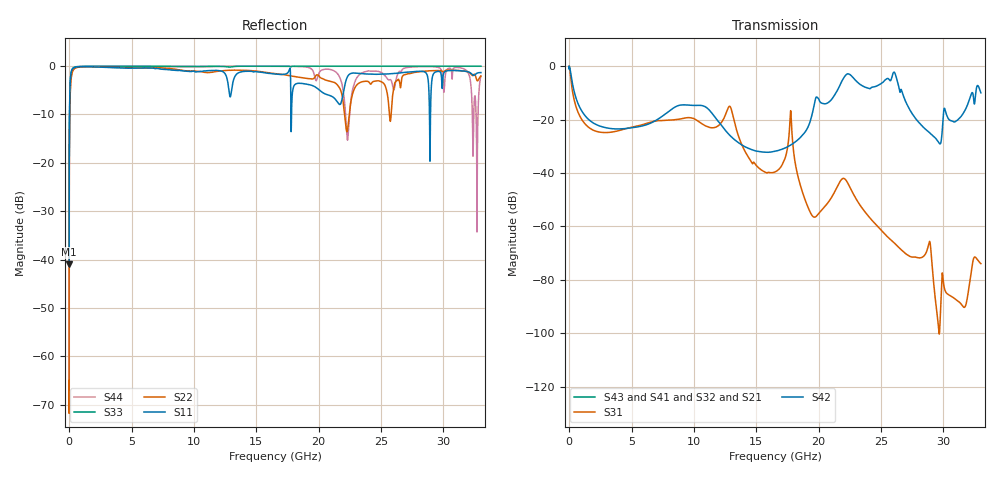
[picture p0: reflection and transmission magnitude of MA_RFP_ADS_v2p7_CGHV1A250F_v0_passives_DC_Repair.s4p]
! AWR Design Environment (17415) Mon Jun  2 11:45:04 2025
! Document = 'CGHV1A250F_v0_leakage_adjustment_passives'
! nPorts: 4, nXvals: 3305
# GHz S DB R 50
!Freq DBS11 AngS11 DBS12 AngS12 DBS13 AngS13 DBS14 AngS14
!	DBS21 AngS21 DBS22 AngS22 DBS23 AngS23 DBS24 AngS24
!	DBS31 AngS31 DBS32 AngS32 DBS33 AngS33 DBS34 AngS34
!	DBS41 AngS41 DBS42 AngS42 DBS43 AngS43 DBS44 AngS44
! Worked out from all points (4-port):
!   3304 points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, 1 kHz to 33 GHz, reference 50 ohm
!   strongest paths, dB at 1 kHz, 8.23 GHz, 16.49 GHz, 24.75 GHz, 33 GHz:
!     S42: -0.2, -16.1, -31.9, -7.2, -10.0
!     S31: 0.0, -20.2, -39.6, -60.1, -74.0
!     S43: -, -, -, -, -
!     S41: -, -, -, -, -
!     S32: -, -, -, -, -
!     S21: -, -, -, -, -
!   lowest |S11| = -41.0 dB at 1 kHz (marker M1), VSWR 1.02, Z = 49.1 - j0.000983 ohm
!   |S11| at or under -10 dB: start of sweep to 33.58 MHz; 17.77755 GHz to 17.82192 GHz (44.37 MHz wide, 0.249 % of centre); 28.88063 GHz to 28.96295 GHz (82.32 MHz wide, 0.285 % of centre)
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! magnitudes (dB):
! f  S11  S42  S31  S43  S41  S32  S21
! 1 kHz  -41.0  -0.2  0.0  -  -  -  -
! 170 MHz  -1.3  -3.8  -6.1  -  -  -  -
! 540 MHz  -0.2  -11.8  -15.0  -  -  -  -
! 15.86 GHz  -1.5  -32.2  -40.0  -  -  -  -
! 17.75 GHz  -2.8  -29.6  -16.7  -  -  -  -
! 19.56 GHz  -4.1  -16.2  -56.4  -  -  -  -
! 33 GHz  -1.3  -10.0  -74.0  -  -  -  -
